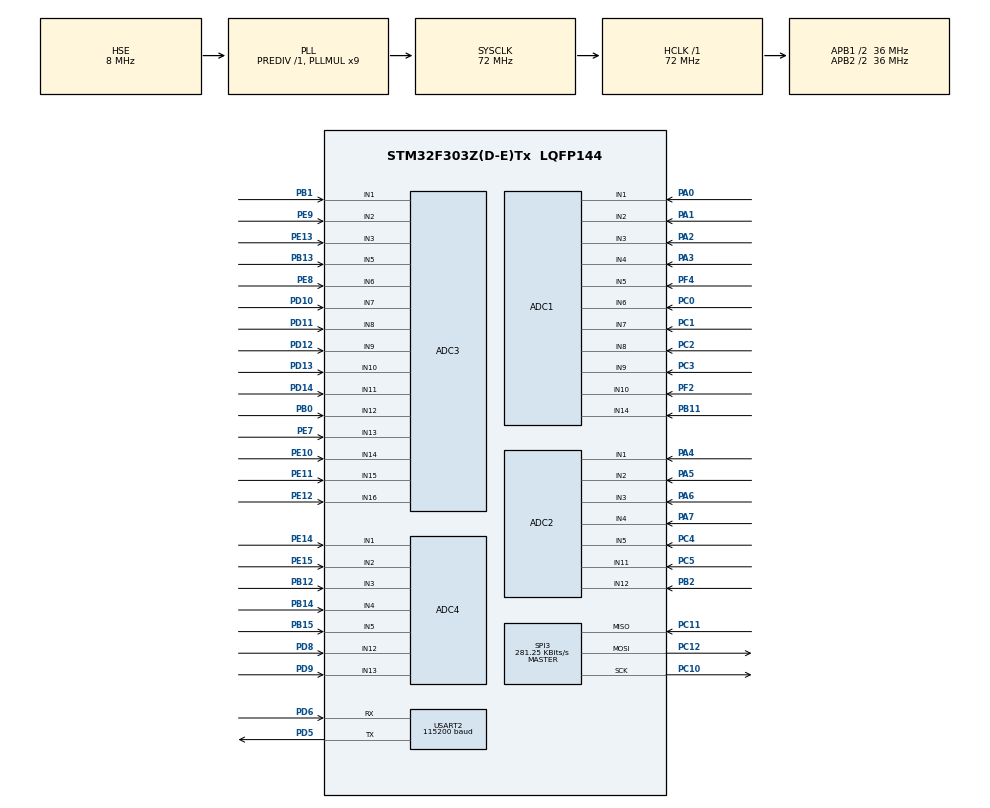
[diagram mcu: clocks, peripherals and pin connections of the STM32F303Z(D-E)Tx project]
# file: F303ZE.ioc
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ADC1.Offset-6\#ChannelRegularConversion=0
ADC3.OffsetNumber-8\#ChannelRegularConversion=ADC_OFFSET_NONE
PF4.Mode=IN5-Single-Ended
ADC4.Rank-2\#ChannelRegularConversion=3
ADC1.Rank-14\#ChannelRegularConversion=11
ADC4.OffsetNumber-3\#ChannelRegularConversion=ADC_OFFSET_NONE
SPI3.Direction=SPI_DIRECTION_2LINES
ADC3.SamplingTimeOPAMP-7\#ChannelRegularConversion=ADC_SAMPLETIME_7CYCLES_5
SPI3.VirtualType=VM_MASTER
ADC2.SamplingTime-1\#ChannelRegularConversion=ADC_SAMPLETIME_1CYCLE_5
ADC2.SamplingTimeOPAMP-4\#ChannelRegularConversion=ADC_SAMPLETIME_7CYCLES_5
ADC1.SamplingTime-6\#ChannelRegularConversion=ADC_SAMPLETIME_1CYCLE_5
PC12.Signal=SPI3_MOSI
ADC4.DiscontinuousConvMode=DISABLE
ADC1.SamplingTimeOPAMP-1\#ChannelRegularConversion=ADC_SAMPLETIME_7CYCLES_5
ADC1.Offset-14\#ChannelRegularConversion=0
ADC4.Offset-4\#ChannelRegularConversion=0
ADC2.SamplingTime-4\#ChannelRegularConversion=ADC_SAMPLETIME_1CYCLE_5
SH.ADCx_IN7P.0=ADC3_IN7,IN7-Single-Ended
ADC1.SamplingTimeOPAMP-4\#ChannelRegularConversion=ADC_SAMPLETIME_7CYCLES_5
ADC1.SamplingTimeOPAMP-13\#ChannelRegularConversion=ADC_SAMPLETIME_7CYCLES_5
PC5.Mode=IN11-Single-Ended
ADC4.OffsetNumber-0\#ChannelRegularConversion=ADC_OFFSET_NONE
ADC1.SamplingTime-12\#ChannelRegularConversion=ADC_SAMPLETIME_1CYCLE_5
ADC1.OffsetNumber-13\#ChannelRegularConversion=ADC_OFFSET_NONE
PB13.Signal=ADC3_IN5
ADC3.SamplingTimeOPAMP-12\#ChannelRegularConversion=ADC_SAMPLETIME_7CYCLES_5
ADC3.Channel-8\#ChannelRegularConversion=ADC_CHANNEL_10
Dma.SPI3_RX.4.Instance=DMA2_Channel1
ADC2.SamplingTimeOPAMP-1\#ChannelRegularConversion=ADC_SAMPLETIME_7CYCLES_5
ADC3.SamplingTimeOPAMP-4\#ChannelRegularConversion=ADC_SAMPLETIME_7CYCLES_5
ADC1.Channel-5\#ChannelRegularConversion=ADC_CHANNEL_6
PA4.Mode=IN1-Single-Ended
ADC3.Rank-7\#ChannelRegularConversion=8
ADC4.OffsetNumber-6\#ChannelRegularConversion=ADC_OFFSET_NONE
ADC3.Offset-8\#ChannelRegularConversion=0
ADC1.Offset-0\#ChannelRegularConversion=0
Dma.SPI3_TX.5.Priority=DMA_PRIORITY_LOW
RCC.APB2TimFreq_Value=72000000
Dma.ADC1.0.Direction=DMA_PERIPH_TO_MEMORY
ADC1.Channel-2\#ChannelRegularConversion=ADC_CHANNEL_3
ADC4.SamplingTimeOPAMP-4\#ChannelRegularConversion=ADC_SAMPLETIME_7CYCLES_5
PC3.Signal=ADCx_IN9
PD8.Signal=ADC4_IN12
ADC4.Offset-1\#ChannelRegularConversion=0
ADC1.Offset-3\#ChannelRegularConversion=0
Dma.ADC1.0.MemDataAlignment=DMA_MDATAALIGN_WORD
ADC3.SamplingTimeOPAMP-1\#ChannelRegularConversion=ADC_SAMPLETIME_7CYCLES_5
PB2.Signal=ADC2_IN12
ADC3.SamplingTime-2\#ChannelRegularConversion=ADC_SAMPLETIME_1CYCLE_5
ADC4.Rank-5\#ChannelRegularConversion=6
ADC2.OffsetNumber-4\#ChannelRegularConversion=ADC_OFFSET_NONE
ADC3.Channel-13\#ChannelRegularConversion=ADC_CHANNEL_15
ADC3.Rank-12\#ChannelRegularConversion=13
ADC3.Offset-5\#ChannelRegularConversion=0
Dma.ADC2.1.Instance=DMA2_Channel3
ADC3.Offset-1\#ChannelRegularConversion=0
SH.ADCx_IN8P.0=ADC3_IN8,IN8-Single-Ended
PE9.Signal=ADC3_IN2
ADC3.OffsetNumber-10\#ChannelRegularConversion=ADC_OFFSET_NONE
NVIC.DMA2_Channel4_IRQn=true\:0\:0\:false\:false\:true\:false\:true
PB14.Mode=IN4-Single-Ended
ADC3.SamplingTime-5\#ChannelRegularConversion=ADC_SAMPLETIME_1CYCLE_5
Dma.ADC1.0.PeriphInc=DMA_PINC_DISABLE
ADC3.ContinuousConvMode=ENABLE
Dma.ADC3.2.Direction=DMA_PERIPH_TO_MEMORY
PA0.Mode=IN1-Single-Ended
Dma.SPI3_TX.5.Instance=DMA2_Channel2
SH.ADCx_IN8.0=ADC1_IN8,IN8-Single-Ended
ADC4.SamplingTimeOPAMP-1\#ChannelRegularConversion=ADC_SAMPLETIME_7CYCLES_5
PE13.Mode=IN3-Single-Ended
ADC3.SamplingTime-9\#ChannelRegularConversion=ADC_SAMPLETIME_1CYCLE_5
NVIC.DMA2_Channel3_IRQn=true\:0\:0\:false\:false\:true\:false\:true
ADC3.Channel-2\#ChannelRegularConversion=ADC_CHANNEL_3
PE10.Signal=ADC3_IN14
ADC3.Rank-4\#ChannelRegularConversion=5
ADC1.SamplingTime-0\#ChannelRegularConversion=ADC_SAMPLETIME_1CYCLE_5
PA0.Signal=ADC1_IN1
ADC4.Channel-4\#ChannelRegularConversion=ADC_CHANNEL_5
ADC3.OffsetNumber-14\#ChannelRegularConversion=ADC_OFFSET_NONE
ADC1.OffsetNumber-5\#ChannelRegularConversion=ADC_OFFSET_NONE
Mcu.Package=LQFP144
PB1.Signal=ADC3_IN1
ADC3.SamplingTime-12\#ChannelRegularConversion=ADC_SAMPLETIME_1CYCLE_5
ADC1.EnableInjectedConversion=DISABLE
SPI3.Mode=SPI_MODE_MASTER
ADC1.SamplingTimeOPAMP-7\#ChannelRegularConversion=ADC_SAMPLETIME_7CYCLES_5
ADC2.Rank-6\#ChannelRegularConversion=7
PD12.Signal=ADCx_IN9P
ADC2.Channel-1\#ChannelRegularConversion=ADC_CHANNEL_2
ADC3.Rank-0\#ChannelRegularConversion=1
ADC2.Offset-2\#ChannelRegularConversion=0
PE9.Mode=IN2-Single-Ended
PC11.Mode=Full_Duplex_Master
SH.ADCx_IN9.0=ADC1_IN9,IN9-Single-Ended
Dma.ADC4.3.Priority=DMA_PRIORITY_LOW
RCC.APB2CLKDivider=RCC_HCLK_DIV2
Dma.SPI3_RX.4.Direction=DMA_PERIPH_TO_MEMORY
ADC3.Offset-14\#ChannelRegularConversion=0
RCC.APB1TimFreq_Value=72000000
ADC2.Rank-2\#ChannelRegularConversion=3
ADC4.SamplingTime-3\#ChannelRegularConversion=ADC_SAMPLETIME_1CYCLE_5
PB13.Mode=IN5-Single-Ended
ADC3.OffsetNumber-2\#ChannelRegularConversion=ADC_OFFSET_NONE
ADC2.Channel-5\#ChannelRegularConversion=ADC_CHANNEL_11
ADC2.Offset-6\#ChannelRegularConversion=0
ADC2.EnableAnalogWatchDog1=true
SH.ADCx_IN9P.0=ADC3_IN9,IN9-Single-Ended
ADC1.EOCSelection=ADC_EOC_SINGLE_CONV
Dma.ADC2.1.PeriphDataAlignment=DMA_PDATAALIGN_HALFWORD
PF1-OSC_OUT.Signal=RCC_OSC_OUT
PC4.Mode=IN5-Single-Ended
ADC1.Rank-4\#ChannelRegularConversion=5
PA5.Mode=IN2-Single-Ended
PE12.Mode=IN16-Single-Ended
ADC3.EnableAnalogWatchDog1=true
Dma.SPI3_TX.5.MemInc=DMA_MINC_ENABLE
Dma.ADC1.0.Instance=DMA1_Channel1
SH.ADCx_IN10P.0=ADC3_IN10,IN10-Single-Ended
ADC1.Rank-0\#ChannelRegularConversion=1
ADC3.OffsetNumber-1\#ChannelRegularConversion=ADC_OFFSET_NONE
ADC2.Offset-3\#ChannelRegularConversion=0
ADC3.Rank-10\#ChannelRegularConversion=11
SH.ADCx_IN6.0=ADC1_IN6,IN6-Single-Ended
ADC2.Rank-3\#ChannelRegularConversion=4
ADC1.OffsetNumber-0\#ChannelRegularConversion=ADC_OFFSET_NONE
ADC3.Rank-6\#ChannelRegularConversion=7
PE10.Mode=IN14-Single-Ended
PC2.Signal=ADCx_IN8
ADC4.SamplingTime-1\#ChannelRegularConversion=ADC_SAMPLETIME_1CYCLE_5
PC0.Signal=ADCx_IN6
RCC.APB1CLKDivider=RCC_HCLK_DIV2
Dma.SPI3_TX.5.Mode=DMA_CIRCULAR
PD6.Mode=Asynchronous
ADC2.SamplingTime-5\#ChannelRegularConversion=ADC_SAMPLETIME_1CYCLE_5
ADC1.WatchdogMode=ADC_ANALOGWATCHDOG_ALL_REG
USART2.BaudRate=115200
Dma.SPI3_TX.5.Direction=DMA_MEMORY_TO_PERIPH
ADC1.Channel-7\#ChannelRegularConversion=ADC_CHANNEL_8
Dma.ADC4.3.MemDataAlignment=DMA_MDATAALIGN_WORD
ADC3.Offset-4\#ChannelRegularConversion=0
PD10.Signal=ADCx_IN7P
PA3.Mode=IN4-Single-Ended
ADC4.OffsetNumber-2\#ChannelRegularConversion=ADC_OFFSET_NONE
ADC4.Rank-3\#ChannelRegularConversion=4
PB11.Mode=IN14-Single-Ended
ADC2.ContinuousConvMode=DISABLE
SH.ADCx_IN7.0=ADC1_IN7,IN7-Single-Ended
ADC3.SamplingTime-6\#ChannelRegularConversion=ADC_SAMPLETIME_1CYCLE_5
ADC3.SamplingTimeOPAMP-6\#ChannelRegularConversion=ADC_SAMPLETIME_7CYCLES_5
ADC3.OffsetNumber-11\#ChannelRegularConversion=ADC_OFFSET_NONE
ADC4.SamplingTimeOPAMP-3\#ChannelRegularConversion=ADC_SAMPLETIME_7CYCLES_5
Dma.ADC1.0.Priority=DMA_PRIORITY_LOW
Dma.ADC3.2.PeriphDataAlignment=DMA_PDATAALIGN_HALFWORD
ADC1.Offset-2\#ChannelRegularConversion=0
ADC3.NbrOfConversion=15
PD8.Mode=IN12-Single-Ended
ADC2.OffsetNumber-1\#ChannelRegularConversion=ADC_OFFSET_NONE
ADC3.Rank-9\#ChannelRegularConversion=10
PB14.Signal=ADC4_IN4
ADC4.SamplingTimeOPAMP-6\#ChannelRegularConversion=ADC_SAMPLETIME_7CYCLES_5
PA5.Signal=ADC2_IN2
ADC1.Offset-5\#ChannelRegularConversion=0
Dma.ADC3.2.Mode=DMA_CIRCULAR
ADC2.OffsetNumber-0\#ChannelRegularConversion=ADC_OFFSET_NONE
PC12.Mode=Full_Duplex_Master
ADC1.Rank-12\#ChannelRegularConversion=9
ADC1.SamplingTime-14\#ChannelRegularConversion=ADC_SAMPLETIME_1CYCLE_5
ADC2.Channel-2\#ChannelRegularConversion=ADC_CHANNEL_3
PA1.Mode=IN2-Single-Ended
PE14.Signal=ADC4_IN1
ADC3.Channel-5\#ChannelRegularConversion=ADC_CHANNEL_7
ADC4.Channel-1\#ChannelRegularConversion=ADC_CHANNEL_2
PE15.Signal=ADC4_IN2
ADC3.SamplingTimeOPAMP-13\#ChannelRegularConversion=ADC_SAMPLETIME_7CYCLES_5
Dma.SPI3_RX.4.PeriphInc=DMA_PINC_DISABLE
ADC4.NbrOfConversionFlag=1
PE8.Signal=ADCx_IN6P
Dma.ADC4.3.Mode=DMA_CIRCULAR
ADC2.NbrOfDiscConversion=7
Dma.ADC4.3.Instance=DMA2_Channel4
ADC4.OffsetNumber-5\#ChannelRegularConversion=ADC_OFFSET_NONE
ADC1.DMAContinuousRequests=DISABLE
Dma.ADC2.1.MemInc=DMA_MINC_ENABLE
ADC3.Rank-5\#ChannelRegularConversion=6
PA13.Mode=Serial_Wire
ADC1.OffsetNumber-12\#ChannelRegularConversion=ADC_OFFSET_NONE
ADC4.Channel-5\#ChannelRegularConversion=ADC_CHANNEL_12
ADC2.SamplingTimeOPAMP-5\#ChannelRegularConversion=ADC_SAMPLETIME_7CYCLES_5
ADC3.Channel-1\#ChannelRegularConversion=ADC_CHANNEL_2
ADC3.SamplingTime-13\#ChannelRegularConversion=ADC_SAMPLETIME_1CYCLE_5
ADC3.Rank-1\#ChannelRegularConversion=2
PA4.Signal=ADC2_IN1
ADC1.SamplingTime-1\#ChannelRegularConversion=ADC_SAMPLETIME_1CYCLE_5
ADC1.SamplingTimeOPAMP-12\#ChannelRegularConversion=ADC_SAMPLETIME_7CYCLES_5
ADC4.Offset-6\#ChannelRegularConversion=0
PB5.Signal=SPI1_MOSI
Dma.ADC2.1.Direction=DMA_PERIPH_TO_MEMORY
ADC4.OffsetNumber-1\#ChannelRegularConversion=ADC_OFFSET_NONE
ADC1.master=1
ADC2.WatchdogMode=ADC_ANALOGWATCHDOG_ALL_REG
ADC2.NbrOfConversionFlag=1
Dma.ADC3.2.PeriphInc=DMA_PINC_DISABLE
PD11.Signal=ADCx_IN8P
ADC1.Rank-1\#ChannelRegularConversion=2
ADC3.Rank-13\#ChannelRegularConversion=14
NVIC.DMA2_Channel1_IRQn=true\:0\:0\:false\:false\:true\:false\:true
ProjectManager.HeapSize=0x200
PB1.Mode=IN1-Single-Ended
SH.ADCx_IN6P.0=ADC3_IN6,IN6-Single-Ended
ADC1.SamplingTime-5\#ChannelRegularConversion=ADC_SAMPLETIME_1CYCLE_5
ADC3.Offset-0\#ChannelRegularConversion=0
NVIC.PriorityGroup=NVIC_PRIORITYGROUP_4
ADC3.Channel-12\#ChannelRegularConversion=ADC_CHANNEL_14
ADC3.OffsetNumber-9\#ChannelRegularConversion=ADC_OFFSET_NONE
ADC3.SequencerNbRanks=15
PF4.Signal=ADC1_IN5
ADC3.Offset-13\#ChannelRegularConversion=0
NVIC.DMA1_Channel1_IRQn=true\:0\:0\:false\:false\:true\:false\:true
PF0-OSC_IN.Signal=RCC_OSC_IN
ADC2.Channel-6\#ChannelRegularConversion=ADC_CHANNEL_12
PB0.Signal=ADC3_IN12
ADC1.Rank-5\#ChannelRegularConversion=6
PC1.Signal=ADCx_IN7
ADC3.OffsetNumber-5\#ChannelRegularConversion=ADC_OFFSET_NONE
PE15.Mode=IN2-Single-Ended
ADC4.SamplingTime-6\#ChannelRegularConversion=ADC_SAMPLETIME_1CYCLE_5
Mcu.Family=STM32F3
SPI3.TIMode=SPI_TIMODE_DISABLE
PA6.Mode=IN3-Single-Ended
ADC2.OffsetNumber-2\#ChannelRegularConversion=ADC_OFFSET_NONE
RCC.CortexFreq_Value=72000000
ADC1.OffsetNumber-7\#ChannelRegularConversion=ADC_OFFSET_NONE
ADC1.ContinuousConvMode=ENABLE
ADC2.Channel-0\#ChannelRegularConversion=ADC_CHANNEL_1
ADC3.Channel-3\#ChannelRegularConversion=ADC_CHANNEL_5
ADC3.SamplingTime-7\#ChannelRegularConversion=ADC_SAMPLETIME_1CYCLE_5
ADC3.Channel-11\#ChannelRegularConversion=ADC_CHANNEL_13
Dma.ADC3.2.Instance=DMA2_Channel5
ADC4.SamplingTime-2\#ChannelRegularConversion=ADC_SAMPLETIME_1CYCLE_5
SPI3.NSSPMode=SPI_NSS_PULSE_ENABLE
PC10.Signal=SPI3_SCK
ADC4.EnableAnalogWatchDog1=true
Dma.ADC4.3.PeriphInc=DMA_PINC_DISABLE
ADC3.SamplingTime-11\#ChannelRegularConversion=ADC_SAMPLETIME_1CYCLE_5
ADC3.OffsetNumber-12\#ChannelRegularConversion=ADC_OFFSET_NONE
USART2.Parity=PARITY_NONE
RCC.SYSCLKSourceVirtual=RCC_SYSCLKSOURCE_PLLCLK
ADC1.OffsetNumber-4\#ChannelRegularConversion=ADC_OFFSET_NONE
ADC4.Channel-6\#ChannelRegularConversion=ADC_CHANNEL_13
ADC4.WatchdogMode=ADC_ANALOGWATCHDOG_ALL_REG
ADC4.SequencerNbRanks=7
Dma.SPI3_TX.5.PeriphInc=DMA_PINC_DISABLE
ADC3.SamplingTime-14\#ChannelRegularConversion=ADC_SAMPLETIME_1CYCLE_5
PB11.Signal=ADC1_IN14
ADC3.Rank-14\#ChannelRegularConversion=15
PB15.Signal=ADC4_IN5
ADC3.Channel-0\#ChannelRegularConversion=ADC_CHANNEL_1
ADC4.Channel-3\#ChannelRegularConversion=ADC_CHANNEL_4
ADC2.DiscontinuousConvMode=ENABLE
PD9.Mode=IN13-Single-Ended
ADC1.Channel-14\#ChannelRegularConversion=ADC_CHANNEL_14
ADC3.Offset-3\#ChannelRegularConversion=0
ADC3.Rank-2\#ChannelRegularConversion=3
ProjectManager.StackSize=0x400
ADC3.Channel-6\#ChannelRegularConversion=ADC_CHANNEL_8
PD13.Signal=ADCx_IN10P
ADC3.SamplingTime-4\#ChannelRegularConversion=ADC_SAMPLETIME_1CYCLE_5
ADC4.Channel-0\#ChannelRegularConversion=ADC_CHANNEL_1
Dma.SPI3_RX.4.MemInc=DMA_MINC_ENABLE
PE11.Mode=IN15-Single-Ended
ADC3.Offset-6\#ChannelRegularConversion=0
Dma.SPI3_RX.4.MemDataAlignment=DMA_MDATAALIGN_BYTE
SPI3.CLKPolarity=SPI_POLARITY_LOW
ADC2.OffsetNumber-5\#ChannelRegularConversion=ADC_OFFSET_NONE
ADC4.ContinuousConvMode=ENABLE
Dma.ADC3.2.Priority=DMA_PRIORITY_LOW
ADC1.Channel-3\#ChannelRegularConversion=ADC_CHANNEL_4
RCC.HCLKFreq_Value=72000000
ADC1.Offset-1\#ChannelRegularConversion=0
ADC3.Offset-9\#ChannelRegularConversion=0
ADC4.Offset-2\#ChannelRegularConversion=0
ADC4.SamplingTimeOPAMP-2\#ChannelRegularConversion=ADC_SAMPLETIME_7CYCLES_5
RCC.AHBFreq_Value=72000000
SPI3.DataSize=SPI_DATASIZE_8BIT
PD5.Mode=Asynchronous
ADC3.SamplingTime-1\#ChannelRegularConversion=ADC_SAMPLETIME_1CYCLE_5
Dma.ADC4.3.MemInc=DMA_MINC_ENABLE
ADC1.Channel-0\#ChannelRegularConversion=ADC_CHANNEL_1
NVIC.DMA2_Channel2_IRQn=true\:0\:0\:false\:false\:true\:false\:true
NVIC.DMA2_Channel5_IRQn=true\:0\:0\:false\:false\:true\:false\:true
RCC.HSE_VALUE=8000000
ADC4.SamplingTimeOPAMP-5\#ChannelRegularConversion=ADC_SAMPLETIME_7CYCLES_5
ADC3.SamplingTimeOPAMP-2\#ChannelRegularConversion=ADC_SAMPLETIME_7CYCLES_5
USART2.VirtualMode-Asynchronous=VM_ASYNC
RCC.PLLMUL=RCC_PLL_MUL9
ADC3.SamplingTimeOPAMP-5\#ChannelRegularConversion=ADC_SAMPLETIME_7CYCLES_5
ADC1.SequencerNbRanks=11
ADC4.Rank-4\#ChannelRegularConversion=5
ADC1.SamplingTime-4\#ChannelRegularConversion=ADC_SAMPLETIME_1CYCLE_5
ADC1.Channel-6\#ChannelRegularConversion=ADC_CHANNEL_7
ADC1.Rank-2\#ChannelRegularConversion=3
ADC3.Channel-9\#ChannelRegularConversion=ADC_CHANNEL_11
PE13.Signal=ADC3_IN3
ADC3.Rank-8\#ChannelRegularConversion=9
Dma.SPI3_RX.4.Mode=DMA_CIRCULAR
ADC2.SamplingTimeOPAMP-2\#ChannelRegularConversion=ADC_SAMPLETIME_7CYCLES_5
PA14.Mode=Serial_Wire
ADC4.Rank-0\#ChannelRegularConversion=1
ADC2.SamplingTimeOPAMP-6\#ChannelRegularConversion=ADC_SAMPLETIME_7CYCLES_5
Dma.ADC2.1.PeriphInc=DMA_PINC_DISABLE
ADC3.WatchdogMode=ADC_ANALOGWATCHDOG_ALL_REG
ADC3.SamplingTimeOPAMP-9\#ChannelRegularConversion=ADC_SAMPLETIME_7CYCLES_5
ADC1.SamplingTimeOPAMP-3\#ChannelRegularConversion=ADC_SAMPLETIME_7CYCLES_5
ADC1.Offset-13\#ChannelRegularConversion=0
ADC4.Offset-5\#ChannelRegularConversion=0
ADC3.SamplingTimeOPAMP-10\#ChannelRegularConversion=ADC_SAMPLETIME_7CYCLES_5
ADC3.master=1
PA6.Signal=ADC2_IN3
ADC2.Offset-0\#ChannelRegularConversion=0
PB12.Mode=IN3-Single-Ended
ADC2.SamplingTime-6\#ChannelRegularConversion=ADC_SAMPLETIME_1CYCLE_5
ADC3.SamplingTimeOPAMP-14\#ChannelRegularConversion=ADC_SAMPLETIME_7CYCLES_5
ADC1.SamplingTime-13\#ChannelRegularConversion=ADC_SAMPLETIME_1CYCLE_5
ADC1.OffsetNumber-1\#ChannelRegularConversion=ADC_OFFSET_NONE
ADC2.Rank-4\#ChannelRegularConversion=5
ADC2.SamplingTime-0\#ChannelRegularConversion=ADC_SAMPLETIME_1CYCLE_5
ADC3.OffsetNumber-0\#ChannelRegularConversion=ADC_OFFSET_NONE
ADC2.SamplingTime-2\#ChannelRegularConversion=ADC_SAMPLETIME_1CYCLE_5
ADC2.NbrOfConversion=7
ADC2.Offset-4\#ChannelRegularConversion=0
Dma.Request2=ADC3
Dma.Request1=ADC2
Dma.Request4=SPI3_RX
Dma.Request3=ADC4
ADC3.OffsetNumber-4\#ChannelRegularConversion=ADC_OFFSET_NONE
Dma.Request5=SPI3_TX
PC5.Signal=ADC2_IN11
PE7.Signal=ADC3_IN13
ADC2.Rank-0\#ChannelRegularConversion=1
PF1-OSC_OUT.Mode=HSE-External-Oscillator
PD6.Signal=USART2_RX
ADC1.Rank-6\#ChannelRegularConversion=7
Dma.Request0=ADC1
ADC3.Offset-12\#ChannelRegularConversion=0
ADC4.SamplingTime-5\#ChannelRegularConversion=ADC_SAMPLETIME_1CYCLE_5
ADC3.OffsetNumber-6\#ChannelRegularConversion=ADC_OFFSET_NONE
ADC2.Channel-3\#ChannelRegularConversion=ADC_CHANNEL_4
PB4.Signal=SPI1_MISO
PA3.Signal=ADC1_IN4
ADC3.Channel-7\#ChannelRegularConversion=ADC_CHANNEL_9
RCC.PLLSourceVirtual=RCC_PLLSOURCE_HSE
ADC3.SamplingTime-3\#ChannelRegularConversion=ADC_SAMPLETIME_1CYCLE_5
ADC3.SamplingTimeOPAMP-3\#ChannelRegularConversion=ADC_SAMPLETIME_7CYCLES_5
ADC3.DiscontinuousConvMode=DISABLE
Dma.ADC3.2.MemDataAlignment=DMA_MDATAALIGN_WORD
PA7.Mode=IN4-Single-Ended
ADC2.SequencerNbRanks=7
ADC1.Channel-4\#ChannelRegularConversion=ADC_CHANNEL_5
ADC2.OffsetNumber-6\#ChannelRegularConversion=ADC_OFFSET_NONE
ADC3.Offset-7\#ChannelRegularConversion=0
ADC3.Offset-10\#ChannelRegularConversion=0
PC11.Signal=SPI3_MISO
ADC1.OffsetNumber-3\#ChannelRegularConversion=ADC_OFFSET_NONE
ADC4.Offset-3\#ChannelRegularConversion=0
PC4.Signal=ADC2_IN5
PC10.Mode=Full_Duplex_Master
ADC1.DiscontinuousConvMode=DISABLE
PD9.Signal=ADC4_IN13
PD5.Signal=USART2_TX
ADC3.SamplingTime-10\#ChannelRegularConversion=ADC_SAMPLETIME_1CYCLE_5
Dma.SPI3_TX.5.MemDataAlignment=DMA_MDATAALIGN_BYTE
ADC1.Channel-13\#ChannelRegularConversion=ADC_CHANNEL_10
ADC3.Rank-3\#ChannelRegularConversion=4
ADC1.SamplingTimeOPAMP-5\#ChannelRegularConversion=ADC_SAMPLETIME_7CYCLES_5
ADC1.SamplingTime-2\#ChannelRegularConversion=ADC_SAMPLETIME_1CYCLE_5
ADC3.SamplingTimeOPAMP-11\#ChannelRegularConversion=ADC_SAMPLETIME_7CYCLES_5
ADC1.OffsetNumber-14\#ChannelRegularConversion=ADC_OFFSET_NONE
ADC4.OffsetNumber-4\#ChannelRegularConversion=ADC_OFFSET_NONE
ADC4.Channel-2\#ChannelRegularConversion=ADC_CHANNEL_3
PA13.Signal=SYS_JTMS-SWDIO
ADC1.Rank-13\#ChannelRegularConversion=10
ADC1.SamplingTimeOPAMP-14\#ChannelRegularConversion=ADC_SAMPLETIME_7CYCLES_5
ADC2.OffsetNumber-3\#ChannelRegularConversion=ADC_OFFSET_NONE
Dma.ADC1.0.PeriphDataAlignment=DMA_PDATAALIGN_HALFWORD
ADC1.Offset-7\#ChannelRegularConversion=0
ADC3.SamplingTime-0\#ChannelRegularConversion=ADC_SAMPLETIME_1CYCLE_5
ADC2.SamplingTimeOPAMP-3\#ChannelRegularConversion=ADC_SAMPLETIME_7CYCLES_5
ProjectManager.TargetToolchain=STM32CubeIDE
ADC3.Channel-4\#ChannelRegularConversion=ADC_CHANNEL_6
Dma.ADC1.0.Mode=DMA_CIRCULAR
ADC4.Rank-1\#ChannelRegularConversion=2
ADC1.Channel-1\#ChannelRegularConversion=ADC_CHANNEL_2
ADC1.EnableAnalogWatchDog2=false
PF2.Signal=ADCx_IN10
ADC1.EnableAnalogWatchDog1=true
RCC.USBFreq_Value=72000000
ADC4.Offset-0\#ChannelRegularConversion=0
PE11.Signal=ADC3_IN15
Dma.ADC2.1.Mode=DMA_CIRCULAR
RCC.LSE_VALUE=32768
PA1.Signal=ADC1_IN2
ADC1.Offset-4\#ChannelRegularConversion=0
PF0-OSC_IN.Mode=HSE-External-Oscillator
ADC4.Rank-6\#ChannelRegularConversion=7
PB0.Mode=IN12-Single-Ended
board=custom
SPI3.CLKPhase=SPI_PHASE_1EDGE
PB15.Mode=IN5-Single-Ended
ADC2.Offset-1\#ChannelRegularConversion=0
ADC1.SamplingTimeOPAMP-6\#ChannelRegularConversion=ADC_SAMPLETIME_7CYCLES_5
ADC1.Channel-12\#ChannelRegularConversion=ADC_CHANNEL_9
RCC.APB2Freq_Value=36000000
SPI3.CalculateBaudRate=281.25 KBits/s
SH.ADCx_IN11.0=ADC3_IN11,IN11-Single-Ended
ADC2.Rank-5\#ChannelRegularConversion=6
Dma.ADC4.3.Direction=DMA_PERIPH_TO_MEMORY
PE14.Mode=IN1-Single-Ended
SPI3.BaudRatePrescaler=SPI_BAUDRATEPRESCALER_128
Dma.ADC3.2.MemInc=DMA_MINC_ENABLE
ADC3.SamplingTime-8\#ChannelRegularConversion=ADC_SAMPLETIME_1CYCLE_5
ADC2.SamplingTime-3\#ChannelRegularConversion=ADC_SAMPLETIME_1CYCLE_5
ADC1.NbrOfConversion=11
ADC1.OffsetNumber-2\#ChannelRegularConversion=ADC_OFFSET_NONE
ADC1.Offset-12\#ChannelRegularConversion=0
ADC1.SamplingTimeOPAMP-2\#ChannelRegularConversion=ADC_SAMPLETIME_7CYCLES_5
Mcu.Name=STM32F303Z(D-E)Tx
ADC3.SamplingTimeOPAMP-8\#ChannelRegularConversion=ADC_SAMPLETIME_7CYCLES_5
ADC4.SamplingTime-0\#ChannelRegularConversion=ADC_SAMPLETIME_1CYCLE_5
ADC3.OffsetNumber-13\#ChannelRegularConversion=ADC_OFFSET_NONE
Dma.SPI3_TX.5.PeriphDataAlignment=DMA_PDATAALIGN_BYTE
PE12.Signal=ADC3_IN16
PA2.Signal=ADC1_IN3
ADC1.OffsetNumber-6\#ChannelRegularConversion=ADC_OFFSET_NONE
ADC4.NbrOfConversion=7
PD14.Signal=ADCx_IN11
ADC3.Offset-2\#ChannelRegularConversion=0
PB3.Signal=SPI1_SCK
RCC.SYSCLKFreq_VALUE=72000000
PE7.Mode=IN13-Single-Ended
ADC1.SamplingTime-3\#ChannelRegularConversion=ADC_SAMPLETIME_1CYCLE_5
ADC1.Rank-3\#ChannelRegularConversion=4
PB2.Mode=IN12-Single-Ended
ADC3.Channel-14\#ChannelRegularConversion=ADC_CHANNEL_16
Dma.SPI3_RX.4.PeriphDataAlignment=DMA_PDATAALIGN_BYTE
ADC3.OffsetNumber-7\#ChannelRegularConversion=ADC_OFFSET_NONE
PA14.Signal=SYS_JTCK-SWCLK
Dma.ADC1.0.MemInc=DMA_MINC_ENABLE
SH.ADCx_IN10.0=ADC1_IN10,IN10-Single-Ended
ADC3.Channel-10\#ChannelRegularConversion=ADC_CHANNEL_12
RCC.HSI_VALUE=8000000
ADC3.Offset-11\#ChannelRegularConversion=0
ADC1.Rank-7\#ChannelRegularConversion=8
ADC1.NbrOfConversionFlag=1
Dma.ADC2.1.MemDataAlignment=DMA_MDATAALIGN_WORD
ADC3.Rank-11\#ChannelRegularConversion=12
ADC2.Rank-1\#ChannelRegularConversion=2
PA2.Mode=IN3-Single-Ended
Dma.ADC2.1.Priority=DMA_PRIORITY_LOW
ADC2.Offset-5\#ChannelRegularConversion=0
ADC1.SamplingTime-7\#ChannelRegularConversion=ADC_SAMPLETIME_1CYCLE_5
ADC4.SamplingTime-4\#ChannelRegularConversion=ADC_SAMPLETIME_1CYCLE_5
Dma.SPI3_RX.4.Priority=DMA_PRIORITY_LOW
ADC3.OffsetNumber-3\#ChannelRegularConversion=ADC_OFFSET_NONE
Dma.ADC4.3.PeriphDataAlignment=DMA_PDATAALIGN_HALFWORD
RCC.APB1Freq_Value=36000000
ADC3.NbrOfConversionFlag=1
ADC2.Channel-4\#ChannelRegularConversion=ADC_CHANNEL_5
PB12.Signal=ADC4_IN3
PA7.Signal=ADC2_IN4

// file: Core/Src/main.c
/* USER CODE BEGIN Header */
/**
  ******************************************************************************
  * @file           : main.c
  * @brief          : Main program body
  ******************************************************************************
  * @attention
  *
  * <h2><center>&copy; Copyright (c) 2021 STMicroelectronics.
  * All rights reserved.</center></h2>
  *
  * This software component is licensed by ST under BSD 3-Clause license,
  * the "License"; You may not use this file except in compliance with the
  * License. You may obtain a copy of the License at:
  *                        opensource.org/licenses/BSD-3-Clause
  *
  ******************************************************************************
  */
/* USER CODE END Header */
#include "main.h"
#include "adc.h"
#include "dma.h"
#include "spi.h"
#include "usart.h"
#include "gpio.h"

/* USER CODE BEGIN Includes */
#include "stdio.h"
#include "string.h"
#include "stdlib.h"

//

#define CS_Pin GPIO_PIN_10
#define CS_GPIO_Port GPIOC
//#define CS_EXTI_IRQn EXTI4_IRQn

    int flag;
#ifdef __GNUC__
#define PUTCHAR_PROTOTYPE int __io_putchar(int ch)
#else
#define PUTCHAR_PROTOTYPE int fputc(int ch, FILE *f)
#endif
PUTCHAR_PROTOTYPE
{
  HAL_UART_Transmit(&huart2, (uint8_t *)&ch, 1, 0xFFFF);
  return ch;
}
// char msg[10];

/* USER CODE END Includes */

/* USER CODE BEGIN PV */
// int count=0;
// char msg[10];

/* Private variables ---------------------------------------------------------*/
/* SPI handler declaration */
//SPI_HandleTypeDef SpiHandle;

/* Buffer used for transmission */
uint8_t aTxBuffer[84];
#define COUNTOF(__BUFFER__)   (sizeof(__BUFFER__) / sizeof(*(__BUFFER__)))
#define BUFFERSIZE                       (COUNTOF(aTxBuffer) - 1)
/* Buffer used for reception */
uint8_t aRxBuffer[83];

__IO uint32_t uhADCxConvertedValue[11];

uint32_t ADC1_Value[110];
uint32_t ADC2_Value[70];
uint32_t ADC3_Value[150];
uint32_t ADC4_Value[70];
// uint8_t ADC_Convert_Value[20];
// uint8_t ADC_Convert_Value2[20];
// uint8_t ADC_Convert_Value3[20];
// uint8_t ADC_Convert_Value4[20];
uint16_t i, j;
uint32_t ADC1Channel1, ADC1Channel2, ADC1Channel3, ADC1Channel4, ADC1Channel5, ADC1Channel6, ADC1Channel7, ADC1Channel8, ADC1Channel9, ADC1Channel10, ADC1Channel11;

uint32_t ADC2Channel1, ADC2Channel2, ADC2Channel3, ADC2Channel4, ADC2Channel5, ADC2Channel6, ADC2Channel7;

uint32_t ADC3Channel1, ADC3Channel2, ADC3Channel3, ADC3Channel4, ADC3Channel5, ADC3Channel6, ADC3Channel7, ADC3Channel8, ADC3Channel9, ADC3Channel10, ADC3Channel11, ADC3Channel12, ADC3Channel13, ADC3Channel14, ADC3Channel15;

uint32_t ADC4Channel1, ADC4Channel2, ADC4Channel3, ADC4Channel4, ADC4Channel5, ADC4Channel6, ADC4Channel7;

uint16_t ADCsum_Value[41],midvalue; //all 40 Channels
uint8_t ADCconvert_Value[82]; // for DMA SPI Transmitt

// choose a MCU-Header    "1101" = 1-Slave,  1-board number, 0-nothing, 1-device_id
uint16_t Slaveboard1_dev_id1 = 1101;
//uint32_t Slaveboard1_dev_id2 = 1102;
//uint32_t Slaveboard1_dev_id3 = 1103;
//uint32_t Slaveboard1_dev_id4 = 1104;
//uint32_t Slaveboard1_dev_id5 = 1105;

//uint32_t Slaveboard2_dev_id1 = 1201;
//uint32_t Slaveboard2_dev_id2 = 1202;
//uint32_t Slaveboard2_dev_id3 = 1203;
//uint32_t Slaveboard2_dev_id4 = 1204;
//uint32_t Slaveboard2_dev_id5 = 1205;

//uint32_t Slaveboard3_dev_id1 = 1301;
//uint32_t Slaveboard3_dev_id2 = 1302;
//uint32_t Slaveboard3_dev_id3 = 1303;
//uint32_t Slaveboard3_dev_id4 = 1304;
//uint32_t Slaveboard3_dev_id5 = 1305;

//uint32_t Slaveboard4_dev_id1 = 1401;
//uint32_t Slaveboard4_dev_id2 = 1402;
//uint32_t Slaveboard4_dev_id3 = 1403;
//uint32_t Slaveboard4_dev_id4 = 1404;
//uint32_t Slaveboard4_dev_id5 = 1405;

//uint32_t Slaveboard5_dev_id1 = 1501;
//uint32_t Slaveboard5_dev_id2 = 1502;
//uint32_t Slaveboard5_dev_id3 = 1503;
//uint32_t Slaveboard5_dev_id4 = 1504;
//uint32_t Slaveboard5_dev_id5 = 1505;

/* USER CODE END PV */

void SystemClock_Config(void);

int main(void)
{

  /* MCU Configuration--------------------------------------------------------*/

  /* Reset of all peripherals, Initializes the Flash interface and the Systick. */
  HAL_Init();

  /* Configure the system clock */
  SystemClock_Config();

  /* Initialize all configured peripherals */
  MX_GPIO_Init();
  MX_DMA_Init();
  MX_ADC1_Init();
  MX_ADC2_Init();
  MX_ADC3_Init();
  MX_ADC4_Init();
  MX_USART2_UART_Init();
  MX_SPI3_Init();
  /* USER CODE BEGIN 2 */

//
//  if(HAL_SPI_Init(&hspi3) != HAL_OK)
//  {
//    /* Initialization Error */
//    Error_Handler();
//  }
//
//
//  /*##-2- Start the Full Duplex Communication process ########################*/
//  /* While the SPI in TransmitReceive process, user can transmit data through
//     "aTxBuffer" buffer & receive data through "aRxBuffer" */
//  if(HAL_SPI_TransmitReceive_DMA(&hspi3, (uint8_t*)aTxBuffer, (uint8_t *)aRxBuffer, BUFFERSIZE) != HAL_OK)
//  {
//    /* Transfer error in transmission process */
//    Error_Handler();
//  }
//
//
//  /*##-3- Wait for the end of the transfer ###################################*/
//  /*  Before starting a new communication transfer, you need to check the current
//      state of the peripheral; if it�s busy you need to wait for the end of current
//      transfer before starting a new one.
//      For simplicity reasons, this example is just waiting till the end of the
//      transfer, but application may perform other tasks while transfer operation
//      is ongoing. */
//  while (HAL_SPI_GetState(&hspi3) != HAL_SPI_STATE_READY)
//  {
//  }
//
//  /*##-4- Compare the sent and received buffers ##############################*/
//  if(Buffercmp((uint8_t*)aTxBuffer, (uint8_t*)aRxBuffer, BUFFERSIZE))
//  {
//    /* Transfer error in transmission process */
//    Error_Handler();
//  }
  /* USER CODE END 2 */

  /* Infinite loop */
  /* USER CODE BEGIN WHILE */
  while (1)
  {
    HAL_ADC_Start_DMA(&hadc1, (uint32_t *)&ADC1_Value, 110);
    for (i = 0, ADC1Channel1 = 0, ADC1Channel2 = 0, ADC1Channel3 = 0, ADC1Channel4 = 0, ADC1Channel5 = 0, ADC1Channel6 = 0, ADC1Channel7 = 0, ADC1Channel8 = 0, ADC1Channel9 = 0, ADC1Channel10 = 0, ADC1Channel11 = 0; i < 110;)
    {
      ADC1Channel1 += ADC1_Value[i++];
      ADC1Channel2 += ADC1_Value[i++];
      ADC1Channel3 += ADC1_Value[i++];
      ADC1Channel4 += ADC1_Value[i++];
      ADC1Channel5 += ADC1_Value[i++];
      ADC1Channel6 += ADC1_Value[i++];
      ADC1Channel7 += ADC1_Value[i++];
      ADC1Channel8 += ADC1_Value[i++];
      ADC1Channel9 += ADC1_Value[i++];
      ADC1Channel10 += ADC1_Value[i++];
      ADC1Channel11 += ADC1_Value[i++];
    }
    ADC1Channel1 /= 10;
    ADC1Channel2 /= 10;
    ADC1Channel3 /= 10;
    ADC1Channel4 /= 10;
    ADC1Channel5 /= 10;
    ADC1Channel6 /= 10;
    ADC1Channel7 /= 10;
    ADC1Channel8 /= 10;
    ADC1Channel9 /= 10;
    ADC1Channel10 /= 10;
    ADC1Channel11 /= 10;
    HAL_Delay(50);
    // 11 7  15  7
    HAL_ADC_Start_DMA(&hadc2, (uint32_t *)&ADC2_Value, 70);
    for (i = 0, ADC2Channel1 = 0, ADC2Channel2 = 0, ADC2Channel3 = 0, ADC2Channel4 = 0, ADC2Channel5 = 0, ADC2Channel6 = 0, ADC2Channel7 = 0; i < 70;)
    {
      ADC2Channel1 += ADC2_Value[i++];
      ADC2Channel2 += ADC2_Value[i++];
      ADC2Channel3 += ADC2_Value[i++];
      ADC2Channel4 += ADC2_Value[i++];
      ADC2Channel5 += ADC2_Value[i++];
      ADC2Channel6 += ADC2_Value[i++];
      ADC2Channel7 += ADC2_Value[i++];
    }
    ADC2Channel1 /= 10;
    ADC2Channel2 /= 10;
    ADC2Channel3 /= 10;
    ADC2Channel4 /= 10;
    ADC2Channel5 /= 10;
    ADC2Channel6 /= 10;
    ADC2Channel7 /= 10;
    HAL_Delay(50);
    HAL_ADC_Start_DMA(&hadc3, (uint32_t *)&ADC3_Value, 150);
    for (i = 0, ADC3Channel1 = 0, ADC3Channel2 = 0, ADC3Channel3 = 0, ADC3Channel4 = 0, ADC3Channel5 = 0, ADC3Channel6 = 0, ADC3Channel7 = 0, ADC3Channel8 = 0, ADC3Channel9 = 0, ADC3Channel10 = 0, ADC3Channel11 = 0, ADC3Channel12 = 0, ADC3Channel13 = 0, ADC3Channel14 = 0, ADC3Channel15 = 0; i < 150;)
    {
      ADC3Channel1 += ADC3_Value[i++];
      ADC3Channel2 += ADC3_Value[i++];
      ADC3Channel3 += ADC3_Value[i++];
      ADC3Channel4 += ADC3_Value[i++];
      ADC3Channel5 += ADC3_Value[i++];
      ADC3Channel6 += ADC3_Value[i++];
      ADC3Channel7 += ADC3_Value[i++];
      ADC3Channel8 += ADC3_Value[i++];
      ADC3Channel9 += ADC3_Value[i++];
      ADC3Channel10 += ADC3_Value[i++];
      ADC3Channel11 += ADC3_Value[i++];
      ADC3Channel12 += ADC3_Value[i++];
      ADC3Channel13 += ADC3_Value[i++];
      ADC3Channel14 += ADC3_Value[i++];
      ADC3Channel15 += ADC3_Value[i++];
    }
    ADC3Channel1 /= 10;
    ADC3Channel2 /= 10;
    ADC3Channel3 /= 10;
    ADC3Channel4 /= 10;
    ADC3Channel5 /= 10;
    ADC3Channel6 /= 10;
    ADC3Channel7 /= 10;
    ADC3Channel8 /= 10;
    ADC3Channel9 /= 10;
    ADC3Channel10 /= 10;
    ADC3Channel11 /= 10;
    ADC3Channel12 /= 10;
    ADC3Channel13 /= 10;
    ADC3Channel14 /= 10;
    ADC3Channel15 /= 10;
    HAL_Delay(50);
    HAL_ADC_Start_DMA(&hadc4, (uint32_t *)&ADC4_Value, 70);
    for (i = 0, ADC4Channel1 = 0, ADC4Channel2 = 0, ADC4Channel3 = 0, ADC4Channel4 = 0, ADC4Channel5 = 0, ADC4Channel6 = 0, ADC4Channel7 = 0; i < 70;)
    {
      ADC4Channel1 += ADC4_Value[i++];
      ADC4Channel2 += ADC4_Value[i++];
      ADC4Channel3 += ADC4_Value[i++];
      ADC4Channel4 += ADC4_Value[i++];
      ADC4Channel5 += ADC4_Value[i++];
      ADC4Channel6 += ADC4_Value[i++];
      ADC4Channel7 += ADC4_Value[i++];
    }
    ADC4Channel1 /= 10;
    ADC4Channel2 /= 10;
    ADC4Channel3 /= 10;
    ADC4Channel4 /= 10;
    ADC4Channel5 /= 10;
    ADC4Channel6 /= 10;
    ADC4Channel7 /= 10;
    HAL_Delay(50);

    ADCsum_Value[0] = Slaveboard1_dev_id1;
    //     	ADCsum_Value[0]=Slaveboard1_dev_id2;
    //     	ADCsum_Value[0]=Slaveboard1_dev_id3;
    //     	ADCsum_Value[0]=Slaveboard1_dev_id4;
    //     	ADCsum_Value[0]=Slaveboard1_dev_id5;

    //     	ADCsum_Value[0]=Slaveboard2_dev_id1;
    //     	ADCsum_Value[0]=Slaveboard2_dev_id2;
    //     	ADCsum_Value[0]=Slaveboard2_dev_id3;
    //     	ADCsum_Value[0]=Slaveboard2_dev_id4;
    //     	ADCsum_Value[0]=Slaveboard2_dev_id5;

    //    	ADCsum_Value[0]=Slaveboard3_dev_id1;
    //     	ADCsum_Value[0]=Slaveboard3_dev_id2;
    //     	ADCsum_Value[0]=Slaveboard3_dev_id3;
    //     	ADCsum_Value[0]=Slaveboard3_dev_id4;
    //     	ADCsum_Value[0]=Slaveboard3_dev_id5;

    //    	ADCsum_Value[0]=Slaveboard4_dev_id1;
    //     	ADCsum_Value[0]=Slaveboard4_dev_id2;
    //     	ADCsum_Value[0]=Slaveboard4_dev_id3;
    //     	ADCsum_Value[0]=Slaveboard4_dev_id4;
    //     	ADCsum_Value[0]=Slaveboard4_dev_id5;

    //    	ADCsum_Value[0]=Slaveboard5_dev_id1;
    //     	ADCsum_Value[0]=Slaveboard5_dev_id2;
    //     	ADCsum_Value[0]=Slaveboard5_dev_id3;
    //     	ADCsum_Value[0]=Slaveboard5_dev_id4;
    //     	ADCsum_Value[0]=Slaveboard5_dev_id5;

    //       ADCsum_Value = {Slaveboard_id,ADC1Channel1,ADC1Channel2,ADC1Channel3,ADC1Channel4,ADC1Channel10,ADC1Channel5,ADC1Channel6,ADC1Channel7,
    //     	 ADC1Channel8,ADC1Channel9,ADC1Channel11,ADC2Channel1,ADC2Channel2,ADC2Channel3,ADC2Channel4,ADC2Channel10,ADC2Channel5,ADC2Channel6,ADC2Channel7,
    //     	 ADC3Channel1,ADC3Channel2,ADC3Channel3,ADC3Channel4,ADC3Channel10,ADC3Channel5,ADC3Channel6,ADC3Channel7,ADC3Channel8,ADC3Channel9,ADC3Channel11,ADC3Channel12,ADC3Channel13,ADC3Channel14,ADC3Channel15,
    //     	 ADC4Channel1,ADC4Channel2,ADC4Channel3,ADC4Channel4,ADC4Channel10,ADC4Channel5,ADC4Channel6,ADC4Channel7};

    ADCsum_Value[1] = ADC1Channel1;
    ADCsum_Value[2] = ADC1Channel2;
    ADCsum_Value[3] = ADC1Channel3;
    ADCsum_Value[4] = ADC1Channel4;
    ADCsum_Value[5] = ADC1Channel5;
    ADCsum_Value[6] = ADC1Channel6;
    ADCsum_Value[7] = ADC1Channel7;
    ADCsum_Value[8] = ADC1Channel8;
    ADCsum_Value[9] = ADC1Channel9;
    ADCsum_Value[10] = ADC1Channel10;
    ADCsum_Value[11] = ADC1Channel11;

    ADCsum_Value[12] = ADC2Channel1;
    ADCsum_Value[13] = ADC2Channel2;
    ADCsum_Value[14] = ADC2Channel3;
    ADCsum_Value[15] = ADC2Channel4;
    ADCsum_Value[16] = ADC2Channel5;
    ADCsum_Value[17] = ADC2Channel6;
    ADCsum_Value[18] = ADC2Channel7;

    ADCsum_Value[19] = ADC3Channel1;
    ADCsum_Value[20] = ADC3Channel2;
    ADCsum_Value[21] = ADC3Channel3;
    ADCsum_Value[22] = ADC3Channel4;
    ADCsum_Value[23] = ADC3Channel5;
    ADCsum_Value[24] = ADC3Channel6;
    ADCsum_Value[25] = ADC3Channel7;
    ADCsum_Value[26] = ADC3Channel8;
    ADCsum_Value[27] = ADC3Channel9;
    ADCsum_Value[28] = ADC3Channel10;
    ADCsum_Value[29] = ADC3Channel11;
    ADCsum_Value[30] = ADC3Channel12;
    ADCsum_Value[31] = ADC3Channel13;
    ADCsum_Value[32] = ADC3Channel14;
    ADCsum_Value[33] = ADC3Channel15;

    ADCsum_Value[34] = ADC4Channel1;
    ADCsum_Value[35] = ADC4Channel2;
    ADCsum_Value[36] = ADC4Channel3;
    ADCsum_Value[37] = ADC4Channel4;
    ADCsum_Value[38] = ADC4Channel5;
    ADCsum_Value[39] = ADC4Channel6;
    ADCsum_Value[40] = ADC4Channel7;

//    HAL_SPI_Transmit_DMA(&hspi3, (uint16_t *)ADCsum_Value, 41);

 //	ADCsum_Value change to transmit  ADCconvert_Value[82];
//    for (i = 1; i < 41; i++)
//    {
//      midvalue=ADCsum_Value[i];
//      ADCconvert_Value[2*i+1] = (ADCsum_Value[i] >> 8) & 0x0f; //high 8bit
//      ADCconvert_Value[2*i] = midvalue & 0xff;            //low 8bit
//    }
    midvalue=Slaveboard1_dev_id1;
    ADCconvert_Value[0] = Slaveboard1_dev_id1 & 0xff;
    ADCconvert_Value[1] = (midvalue >> 8) & 0x0f;
    HAL_Delay(3);

    midvalue=ADCsum_Value[1];

    ADCconvert_Value[2] = ADCsum_Value[1] & 0xff;

    ADCconvert_Value[3] = (midvalue >> 8) & 0x0f;

    HAL_Delay(3);

    midvalue=ADCsum_Value[2];

    ADCconvert_Value[4] = ADCsum_Value[2] & 0xff;

    ADCconvert_Value[5] = (midvalue >> 8) & 0x0f;

    HAL_Delay(3);

    midvalue=ADCsum_Value[3];

    ADCconvert_Value[6] = ADCsum_Value[3] & 0xff;

    ADCconvert_Value[7] = (midvalue >> 8) & 0x0f;

    HAL_Delay(3);

    midvalue=ADCsum_Value[4];

    ADCconvert_Value[8] = ADCsum_Value[4] & 0xff;

    ADCconvert_Value[9] = (midvalue >> 8) & 0x0f;

    HAL_Delay(3);

    midvalue=ADCsum_Value[5];

    ADCconvert_Value[10] = ADCsum_Value[5] & 0xff;

    ADCconvert_Value[11] = (midvalue >> 8) & 0x0f;

    HAL_Delay(3);

    midvalue=ADCsum_Value[6];

    ADCconvert_Value[12] = ADCsum_Value[6] & 0xff;

    ADCconvert_Value[13] = (midvalue >> 8) & 0x0f;

    HAL_Delay(3);

    midvalue=ADCsum_Value[7];

    ADCconvert_Value[14] = ADCsum_Value[7] & 0xff;

    ADCconvert_Value[15] = (midvalue >> 8) & 0x0f;

    HAL_Delay(3);

    midvalue=ADCsum_Value[8];

    ADCconvert_Value[16] = ADCsum_Value[8] & 0xff;

    ADCconvert_Value[17] = (midvalue >> 8) & 0x0f;

    HAL_Delay(3);

    midvalue=ADCsum_Value[9];

    ADCconvert_Value[18] = ADCsum_Value[9] & 0xff;

    ADCconvert_Value[19] = (midvalue >> 8) & 0x0f;

    HAL_Delay(3);

    midvalue=ADCsum_Value[10];

    ADCconvert_Value[20] = ADCsum_Value[10] & 0xff;

    ADCconvert_Value[21] = (midvalue >> 8) & 0x0f;

    HAL_Delay(3);

    midvalue=ADCsum_Value[11];

    ADCconvert_Value[22] = ADCsum_Value[11] & 0xff;

    ADCconvert_Value[23] = (midvalue >> 8) & 0x0f;

    HAL_Delay(3);

    midvalue=ADCsum_Value[12];

    ADCconvert_Value[24] = ADCsum_Value[12] & 0xff;

    ADCconvert_Value[25] = (midvalue >> 8) & 0x0f;

    HAL_Delay(3);

    midvalue=ADCsum_Value[13];

    ADCconvert_Value[26] = ADCsum_Value[13] & 0xff;

    ADCconvert_Value[27] = (midvalue >> 8) & 0x0f;

    HAL_Delay(3);

    midvalue=ADCsum_Value[14];

    ADCconvert_Value[28] = ADCsum_Value[14] & 0xff;

    ADCconvert_Value[29] = (midvalue >> 8) & 0x0f;

    HAL_Delay(3);

    midvalue=ADCsum_Value[15];

    ADCconvert_Value[30] = ADCsum_Value[15] & 0xff;

    ADCconvert_Value[31] = (midvalue >> 8) & 0x0f;

    HAL_Delay(3);

    midvalue=ADCsum_Value[16];

    ADCconvert_Value[32] = ADCsum_Value[16] & 0xff;

    ADCconvert_Value[33] = (midvalue >> 8) & 0x0f;

    HAL_Delay(3);

    midvalue=ADCsum_Value[17];

    ADCconvert_Value[34] = ADCsum_Value[17] & 0xff;

    ADCconvert_Value[35] = (midvalue >> 8) & 0x0f;

    HAL_Delay(3);

    midvalue=ADCsum_Value[18];

    ADCconvert_Value[36] = ADCsum_Value[18] & 0xff;

    ADCconvert_Value[37] = (midvalue >> 8) & 0x0f;

    HAL_Delay(3);

    midvalue=ADCsum_Value[19];

    ADCconvert_Value[38] = ADCsum_Value[19] & 0xff;

    ADCconvert_Value[39] = (midvalue >> 8) & 0x0f;

    HAL_Delay(3);

    midvalue=ADCsum_Value[20];

    ADCconvert_Value[40] = ADCsum_Value[20] & 0xff;

    ADCconvert_Value[41] = (midvalue >> 8) & 0x0f;

    HAL_Delay(3);

    midvalue=ADCsum_Value[21];

    ADCconvert_Value[42] = ADCsum_Value[21] & 0xff;

    ADCconvert_Value[43] = (midvalue >> 8) & 0x0f;

    HAL_Delay(3);

    midvalue=ADCsum_Value[22];

    ADCconvert_Value[44] = ADCsum_Value[22] & 0xff;

    ADCconvert_Value[45] = (midvalue >> 8) & 0x0f;

    HAL_Delay(3);

    midvalue=ADCsum_Value[23];

    ADCconvert_Value[46] = ADCsum_Value[23] & 0xff;

    ADCconvert_Value[47] = (midvalue >> 8) & 0x0f;

    HAL_Delay(3);

    midvalue=ADCsum_Value[24];

    ADCconvert_Value[48] = ADCsum_Value[24] & 0xff;

    ADCconvert_Value[49] = (midvalue >> 8) & 0x0f;

    HAL_Delay(3);

    midvalue=ADCsum_Value[25];

    ADCconvert_Value[50] = ADCsum_Value[25] & 0xff;

    ADCconvert_Value[51] = (midvalue >> 8) & 0x0f;

    HAL_Delay(3);

    midvalue=ADCsum_Value[26];

    ADCconvert_Value[52] = ADCsum_Value[26] & 0xff;

    ADCconvert_Value[53] = (midvalue >> 8) & 0x0f;

    HAL_Delay(3);

    midvalue=ADCsum_Value[27];

    ADCconvert_Value[54] = ADCsum_Value[27] & 0xff;

    ADCconvert_Value[55] = (midvalue >> 8) & 0x0f;

    HAL_Delay(3);

    midvalue=ADCsum_Value[28];

    ADCconvert_Value[56] = ADCsum_Value[28] & 0xff;

    ADCconvert_Value[57] = (midvalue >> 8) & 0x0f;

    HAL_Delay(3);

    midvalue=ADCsum_Value[29];

    ADCconvert_Value[58] = ADCsum_Value[29] & 0xff;

    ADCconvert_Value[59] = (midvalue >> 8) & 0x0f;

    HAL_Delay(3);

    midvalue=ADCsum_Value[30];

    ADCconvert_Value[60] = ADCsum_Value[30] & 0xff;

    ADCconvert_Value[61] = (midvalue >> 8) & 0x0f;

    HAL_Delay(3);

    midvalue=ADCsum_Value[31];

    ADCconvert_Value[62] = ADCsum_Value[31] & 0xff;

    ADCconvert_Value[63] = (midvalue >> 8) & 0x0f;

    HAL_Delay(3);

    midvalue=ADCsum_Value[32];

    ADCconvert_Value[64] = ADCsum_Value[32] & 0xff;

    ADCconvert_Value[65] = (midvalue >> 8) & 0x0f;

    HAL_Delay(3);

    midvalue=ADCsum_Value[33];

    ADCconvert_Value[66] = ADCsum_Value[33] & 0xff;

    ADCconvert_Value[67] = (midvalue >> 8) & 0x0f;

    HAL_Delay(3);

    midvalue=ADCsum_Value[34];

    ADCconvert_Value[68] = ADCsum_Value[34] & 0xff;

    ADCconvert_Value[69] = (midvalue >> 8) & 0x0f;

    HAL_Delay(3);

    midvalue=ADCsum_Value[35];

    ADCconvert_Value[70] = ADCsum_Value[35] & 0xff;

    ADCconvert_Value[71] = (midvalue >> 8) & 0x0f;

    HAL_Delay(3);

    midvalue=ADCsum_Value[36];

    ADCconvert_Value[72] = ADCsum_Value[36] & 0xff;

    ADCconvert_Value[73] = (midvalue >> 8) & 0x0f;

    HAL_Delay(3);

    midvalue=ADCsum_Value[37];

    ADCconvert_Value[74] = ADCsum_Value[37] & 0xff;

    ADCconvert_Value[75] = (midvalue >> 8) & 0x0f;

    HAL_Delay(3);

    midvalue=ADCsum_Value[38];

    ADCconvert_Value[76] = ADCsum_Value[38] & 0xff;

    ADCconvert_Value[77] = (midvalue >> 8) & 0x0f;

    HAL_Delay(3);

    midvalue=ADCsum_Value[39];

    ADCconvert_Value[78] = ADCsum_Value[39] & 0xff;

    ADCconvert_Value[79] = (midvalue >> 8) & 0x0f;

    HAL_Delay(3);

    midvalue=ADCsum_Value[40];

    ADCconvert_Value[80] = ADCsum_Value[40] & 0xff;

    ADCconvert_Value[81] = (midvalue >> 8) & 0x0f;

    HAL_Delay(3);

//    HAL_GPIO_WritePin(SPI1_NSS_GPIO_Port, SPI1_NSS_Pin, GPIO_PIN_RESET);
    HAL_GPIO_WritePin(GPIOC, GPIO_PIN_10,  GPIO_PIN_RESET);
    HAL_SPI_Transmit_DMA(&hspi3, (uint8_t *)ADCconvert_Value, sizeof((uint8_t *)ADCconvert_Value));
//    		HAL_GPIO_WritePin(SPI1_NSS_GPIO_Port, SPI1_NSS_Pin, GPIO_PIN_SET);
    		HAL_GPIO_WritePin(GPIOC, GPIO_PIN_10, GPIO_PIN_SET);
    		HAL_Delay(500);
//
//    HAL_GPIO_WritePin(GPIOC, GPIO_PIN_10,  GPIO_PIN_SET);
//     HAL_SPI_TransmitReceive(&hspi3, (uint8_t *)ADCconvert_Value,(uint8_t *)ADCconvert_Value,sizeof((uint8_t *)ADCconvert_Value),0xFF);
//   HAL_GPIO_WritePin(GPIOC, GPIO_PIN_10, GPIO_PIN_RESET);
//    HAL_Delay(1000);
//    HAL_SPI_Transmit_DMA(&hspi3, ADCconvert_Value, 82);, HAL_MAX_DELAY

    //    printf("init ok2");
//    HAL_Delay(400);

//			  HAL_SPI_Transmit(&hspi3, ADCconvert_Value, 1, 100);

    //debug ADCconvert_Value
//    for (j = 0; j < 82; j++)
//    {
//      printf("ADCconvert_Value[%d] = %d \r\n", j, ADCconvert_Value[j]);
//      HAL_Delay(10);
//    }
  }
    /* USER CODE END WHILE */

}

void SystemClock_Config(void)
{
  RCC_OscInitTypeDef RCC_OscInitStruct = {0};
  RCC_ClkInitTypeDef RCC_ClkInitStruct = {0};
  RCC_PeriphCLKInitTypeDef PeriphClkInit = {0};

  /** Initializes the RCC Oscillators according to the specified parameters
  * in the RCC_OscInitTypeDef structure.
  */
  RCC_OscInitStruct.OscillatorType = RCC_OSCILLATORTYPE_HSE;
  RCC_OscInitStruct.HSEState = RCC_HSE_ON;
  RCC_OscInitStruct.HSIState = RCC_HSI_ON;
  RCC_OscInitStruct.PLL.PLLState = RCC_PLL_ON;
  RCC_OscInitStruct.PLL.PLLSource = RCC_PLLSOURCE_HSE;
  RCC_OscInitStruct.PLL.PLLMUL = RCC_PLL_MUL9;
  RCC_OscInitStruct.PLL.PREDIV = RCC_PREDIV_DIV1;
  if (HAL_RCC_OscConfig(&RCC_OscInitStruct) != HAL_OK)
  {
    Error_Handler();
  }
  /** Initializes the CPU, AHB and APB buses clocks
  */
  RCC_ClkInitStruct.ClockType = RCC_CLOCKTYPE_HCLK|RCC_CLOCKTYPE_SYSCLK
                              |RCC_CLOCKTYPE_PCLK1|RCC_CLOCKTYPE_PCLK2;
  RCC_ClkInitStruct.SYSCLKSource = RCC_SYSCLKSOURCE_PLLCLK;
  RCC_ClkInitStruct.AHBCLKDivider = RCC_SYSCLK_DIV1;
  RCC_ClkInitStruct.APB1CLKDivider = RCC_HCLK_DIV2;
  RCC_ClkInitStruct.APB2CLKDivider = RCC_HCLK_DIV2;

  if (HAL_RCC_ClockConfig(&RCC_ClkInitStruct, FLASH_LATENCY_2) != HAL_OK)
  {
    Error_Handler();
  }
  PeriphClkInit.PeriphClockSelection = RCC_PERIPHCLK_USART2|RCC_PERIPHCLK_ADC12
                              |RCC_PERIPHCLK_ADC34;
  PeriphClkInit.Usart2ClockSelection = RCC_USART2CLKSOURCE_PCLK1;
  PeriphClkInit.Adc12ClockSelection = RCC_ADC12PLLCLK_DIV1;
  PeriphClkInit.Adc34ClockSelection = RCC_ADC34PLLCLK_DIV1;
  if (HAL_RCCEx_PeriphCLKConfig(&PeriphClkInit) != HAL_OK)
  {
    Error_Handler();
  }
}

/* USER CODE BEGIN 4 */
//void HAL_SPI_ErrorCallback(SPI_HandleTypeDef *hspi)
//{
// /* Turn LED5 on: Transfer error in reception/transmission process */
//// BSP_LED_On(LED5);
//	;
//}
//
///**
// * @brief  Compares two buffers.
// * @param  pBuffer1, pBuffer2: buffers to be compared.
// * @param  BufferLength: buffer's length
// * @retval 0  : pBuffer1 identical to pBuffer2
// *         >0 : pBuffer1 differs from pBuffer2
// */
//static uint16_t Buffercmp(uint8_t* pBuffer1, uint8_t* pBuffer2, uint16_t BufferLength)
//{
// while (BufferLength--)
// {
//   if((*pBuffer1) != *pBuffer2)
//   {
//     return BufferLength;
//   }
//   pBuffer1++;
//   pBuffer2++;
// }
//
// return 0;
//}
/* USER CODE END 4 */

void Error_Handler(void)
{
  __disable_irq();
  while (1)
  {
  }
}

/************************ (C) COPYRIGHT STMicroelectronics *****END OF FILE****/
